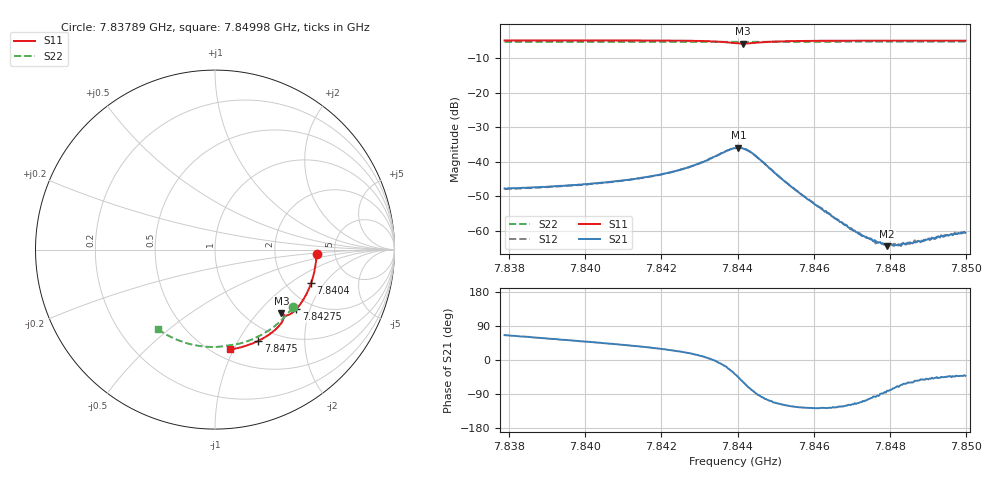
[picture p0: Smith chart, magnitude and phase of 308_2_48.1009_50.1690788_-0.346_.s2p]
#  HZ  S  RI  R  50.00
! Rohde & Schwarz Vector Network Analyzer
! Rohde-Schwarz,ZNB20-2Port,1311601062101988,3.16
! Created: UTC 12/23/2023, 4:05:28 AM
! freq[Hz]  re:S11  im:S11  re:S21  im:S21  re:S12  im:S12  re:S22  im:S22
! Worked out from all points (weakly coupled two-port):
!   401 points, 7.83789 GHz to 7.84998 GHz, reference 50 ohm
!   highest |S21| = -35.95 dB at 7.84402 GHz (marker M1); lowest = -64.5 dB at 7.84792 GHz (marker M2)
!   lowest |S11| = -5.8 dB at 7.84414 GHz (marker M3), VSWR 3.10, Z = 70.8 - j67.8 ohm
!   |S11| at or under -10 dB: nowhere
!   |S22| runs from -5.4 to -5.3 dB; largest |S21 - S12| = 0.0004
!   S11 on the Smith chart (normalised r, x): 7.83789 GHz: 3.60, -0.24; 7.8404 GHz: 2.70, -1.49; 7.84275 GHz: 1.67, -1.62; 7.8475 GHz: 0.82, -1.22; 7.84998 GHz: 0.59, -0.97
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7.837887e9  0.566 -0.0231  0.00168 0.00372  0.00167 0.00362  0.4335 -0.3218
7.839912e9  0.545 -0.1565  0.00303 0.00352  0.00298 0.00351  0.3355 -0.424
7.840396e9  0.5349 -0.1875  0.00345 0.00351  0.00341 0.00348  0.3085 -0.4443
7.841937e9  0.489 -0.2835  0.00556 0.00322  0.00552 0.00322  0.2139 -0.4973
7.842753e9  0.4528 -0.3314  0.00805 0.00256  0.00799 0.00253  0.1601 -0.5172
7.843479e9  0.4055 -0.3656  0.0123 -0.00117  0.0124 -0.00108  0.1104 -0.5291
7.843932e9  0.3721 -0.3618  0.0125 -0.00958  0.0124 -0.0094  0.0801 -0.533
7.844023e9  0.3698 -0.358  0.0111 -0.0114  0.0111 -0.0113  0.0745 -0.5335
7.844144e9  0.3705 -0.3533  0.00813 -0.0131  0.00832 -0.013  0.0668 -0.5347
7.844416e9  0.38 -0.3568  0.00168 -0.0128  0.00173 -0.0127  0.0495 -0.5378
7.845232e9  0.3675 -0.4123  -0.00253 -0.00456  -0.00251 -0.00455  -0.00723 -0.5427
7.845958e9  0.3308 -0.451  -0.00155 -0.00207  -0.00156 -0.00209  -0.0585 -0.5404
7.846955e9  0.2739 -0.4909  -0.000509 -0.00092  -0.00052 -0.000956  -0.128 -0.5293
7.847227e9  0.2577 -0.5  -0.000315 -0.000811  -0.00032 -0.000835  -0.1464 -0.5245
7.847499e9  0.2411 -0.5083  -0.000139 -0.000758  -0.000154 -0.000728  -0.1649 -0.5191
7.84762e9  0.2338 -0.5119  -9.13e-05 -0.000707  -4.29e-05 -0.000651  -0.1729 -0.5165
7.847923e9  0.2151 -0.5201  9.31e-05 -0.000589  0.000113 -0.000634  -0.193 -0.5096
7.847983e9  0.2113 -0.5217  0.000107 -0.000616  0.000123 -0.000613  -0.1969 -0.5081
7.848164e9  0.2 -0.5262  0.000203 -0.000583  0.000227 -0.00058  -0.2086 -0.5036
7.848346e9  0.1885 -0.5304  0.000302 -0.000596  0.000243 -0.000601  -0.2206 -0.4986
7.849162e9  0.1363 -0.546  0.000506 -0.000562  0.000541 -0.000598  -0.2717 -0.4731
7.849978e9  0.0829 -0.5563  0.000696 -0.000618  0.000713 -0.000635  -0.3199 -0.4425
